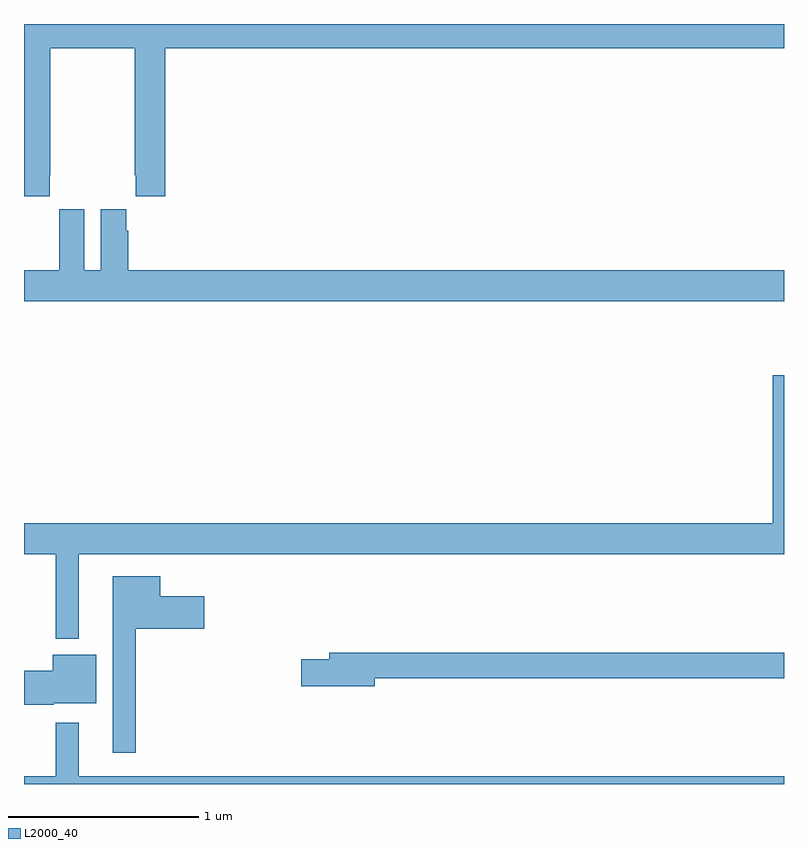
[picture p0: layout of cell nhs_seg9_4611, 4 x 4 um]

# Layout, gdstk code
import gdstk
lib = gdstk.Library(unit=1e-6, precision=1e-09)
def P(c, l, *ps):  # polygons
    for p in ps: c.add(gdstk.Polygon(p, *l))
L2000_40 = (2000, 40)

nhs_seg9_4611 = lib.new_cell('nhs_seg9_4611')
P(nhs_seg9_4611, L2000_40, [(375.135,1243.705),(375.138,1243.705),(375.138,1244.372),(375.583,1244.372),(375.583,1243.705),(375.589,1243.705),(375.589,1243.593),(375.743,1243.593),(375.743,1244.372),(379,1244.372),(379,1244.5),(375,1244.5),(375,1243.593),(375.135,1243.593)],
  [(379,1243.204),(375.548,1243.204),(375.548,1243.412),(375.538,1243.412),(375.538,1243.525),(375.404,1243.525),(375.404,1243.204),(375.316,1243.204),(375.316,1243.525),(375.186,1243.525),(375.186,1243.412),(375.185,1243.412),(375.185,1243.204),(375,1243.204),(375,1243.04),(379,1243.04)],
  [(375.289,1241.708),(379,1241.708),(379,1242.652),(378.941,1242.652),(378.941,1241.872),(375,1241.872),(375,1241.708),(375.168,1241.708),(375.168,1241.264),(375.289,1241.264)],
  [(375.589,1241.318),(375.949,1241.318),(375.949,1241.488),(375.718,1241.488),(375.718,1241.593),(375.467,1241.593),(375.467,1240.665),(375.589,1240.665)],
  [(376.846,1241.056),(379,1241.056),(379,1241.192),(376.607,1241.192),(376.607,1241.156),(376.458,1241.156),(376.458,1241.014),(376.846,1241.014)],
  [(375.156,1240.925),(375.379,1240.925),(375.379,1241.179),(375.152,1241.179),(375.152,1241.096),(375,1241.096),(375,1240.918),(375.156,1240.918)],
  [(379,1240.54),(375.289,1240.54),(375.289,1240.822),(375.168,1240.822),(375.168,1240.54),(375,1240.54),(375,1240.5),(379,1240.5)])

lib.write_gds('nhs_seg9_4611.gds')
